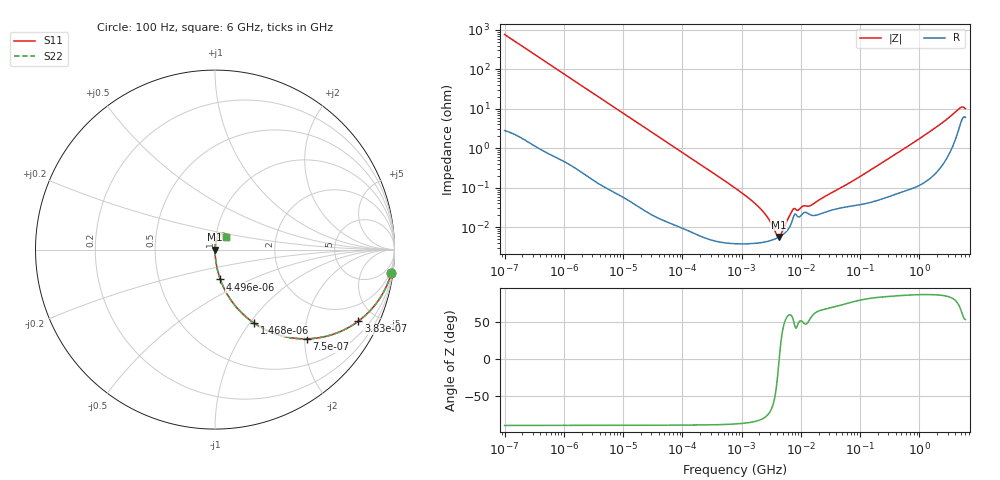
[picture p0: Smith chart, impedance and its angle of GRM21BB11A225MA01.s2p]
!Murata Part Number: GRM21BB11A225MA01
!These Parameters are Measured in Series Mode Connection
!Data Generated on Mar 30, 2021
!  o--ll--o
!Port1  Port2
!  o------o
!Operation Temp=25[degC], DC Bias Voltage=0[V]
!Freq. Start=100[Hz] Stop=6[GHz] 401[Steps]
# Hz S RI R 50
!Freq.(Hz) S11(Real) S11(Imag) S21(Real) S21(Imag) S12(Real) S12(Imag) S22(Real) S22(Imag)
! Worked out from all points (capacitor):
!   401 points, 100 Hz to 6 GHz, reference 50 ohm
!   read as one part in series: C = 2.09 uF near 109 Hz
!   lowest |Z| = 5.63 mohm at 4.246 MHz (marker M1)
!   series resonance near 4.32 MHz, so ESL is about 650 pH
!   S11 on the Smith chart (normalised r, x): 100 Hz: 1, -15; 383 Hz: 1.02, -3.99; 750 Hz: 1.01, -2.04; 1.468 kHz: 1.01, -1.05; 4.496 kHz: 1.00, -0.34; 6 GHz: 1.12, +0.16
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100  0.9826 -0.1289  0.0174 0.1289  0.0174 0.1289  0.9826 -0.1289
214  0.9261 -0.2593  0.0739 0.2593  0.0739 0.2593  0.9261 -0.2593
383  0.7983 -0.3988  0.2017 0.3988  0.2017 0.3988  0.7983 -0.3988
750  0.511 -0.4971  0.489 0.4971  0.489 0.4971  0.511 -0.4971
1468  0.2168 -0.4089  0.7832 0.4089  0.7832 0.4089  0.2168 -0.4089
2008  0.1297 -0.3329  0.8703 0.3329  0.8703 0.3329  0.1297 -0.3329
4496  0.0297 -0.1665  0.9703 0.1665  0.9703 0.1665  0.0297 -0.1665
11514  0.00502 -0.067  0.995 0.067  0.995 0.067  0.00502 -0.067
40335  0.000539 -0.0193  0.9995 0.0193  0.9995 0.0193  0.000539 -0.0193
774597  3.92e-05 -0.000986  1 0.000986  1 0.000986  3.92e-05 -0.000986
1983483  4.01e-05 -0.000315  1 0.000315  1 0.000315  4.01e-05 -0.000315
2594782  4.29e-05 -0.000196  1 0.000196  1 0.000196  4.29e-05 -0.000196
3394479  4.82e-05 -9.04e-05  1 9.04e-05  1 9.04e-05  4.82e-05 -9.04e-05
4246196  5.59e-05 -6.4e-06  0.9999 6.4e-06  0.9999 6.4e-06  5.59e-05 -6.4e-06
5311619  7.03e-05 8.06e-05  0.9999 -8.06e-05  0.9999 -8.06e-05  7.03e-05 8.06e-05
6948629  0.000127 0.000205  0.9999 -0.000205  0.9999 -0.000205  0.000127 0.000205
7599586  0.000191 0.000227  0.9998 -0.000227  0.9998 -0.000227  0.000191 0.000227
1.555665e7  0.000199 0.000315  0.9998 -0.000315  0.9998 -0.000315  0.000199 0.000315
3.124326e8  0.000632 0.00559  0.9994 -0.00559  0.9994 -0.00559  0.000632 0.00559
1.791126e9  0.00313 0.0314  0.9969 -0.0314  0.9969 -0.0314  0.00313 0.0314
4.586474e9  0.0359 0.0877  0.9641 -0.0877  0.9641 -0.0877  0.0359 0.0877
6e9  0.0626 0.0706  0.9374 -0.0706  0.9374 -0.0706  0.0626 0.0706
